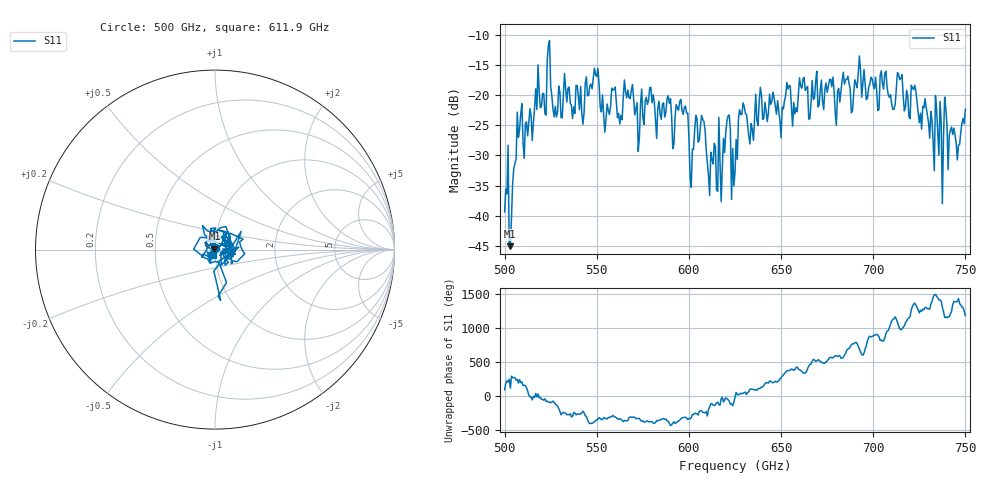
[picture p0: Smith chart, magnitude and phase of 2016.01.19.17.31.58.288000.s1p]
!Created with skrf (http://scikit-rf.org).
# GHz S RI R 50.0
!freq ReS11 ImS11
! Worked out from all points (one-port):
!   401 points, 500 GHz to 750 GHz, reference 50 ohm
!   lowest |S11| = -45.1 dB at 503.1 GHz (marker M1), VSWR 1.01, Z = 49.7 + j0.473 ohm
!   |S11| at or under -10 dB: start of sweep to end of sweep
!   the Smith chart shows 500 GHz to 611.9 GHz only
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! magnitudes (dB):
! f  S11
! 500 GHz  -39.4
! 503.1 GHz  -45.1
! 508.1 GHz  -25.7
! 521.2 GHz  -19.8
! 524.4 GHz  -10.9
! 527.5 GHz  -21.9
! 531.2 GHz  -23.8
! 549.4 GHz  -16.6
! 553.8 GHz  -23.3
! 562.5 GHz  -24.8
! 565.6 GHz  -19.4
! 571.9 GHz  -21.2
! 593.8 GHz  -22.2
! 598.1 GHz  -21.8
! 601.2 GHz  -35.3
! 607.5 GHz  -24.0
! 610.6 GHz  -33.4
! 616.2 GHz  -23.7
! 621.2 GHz  -23.4
! 625 GHz  -32.8
! 628.8 GHz  -23.2
! 656.2 GHz  -25.1
! 687.5 GHz  -19.0
! 710.6 GHz  -22.3
! 714.4 GHz  -17.4
! 718.8 GHz  -20.2
! 736.9 GHz  -24.6
! 750 GHz  -22.3
